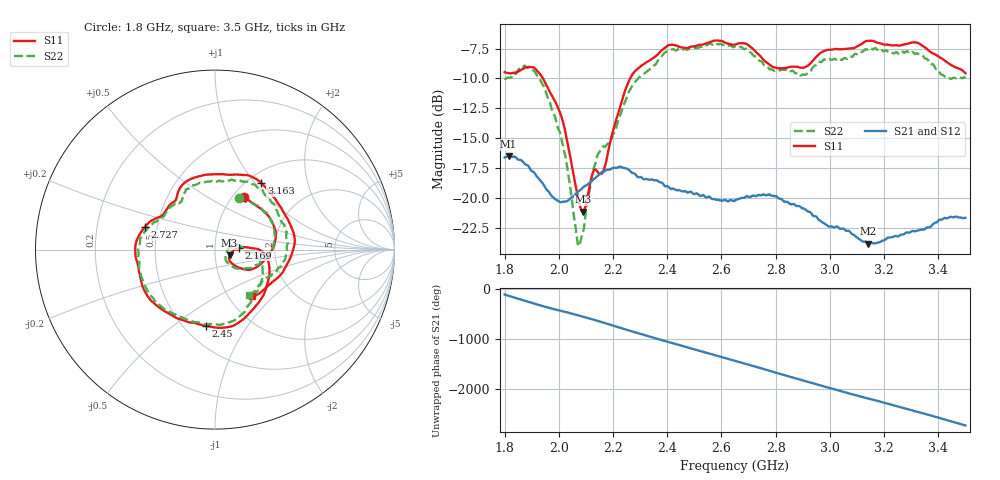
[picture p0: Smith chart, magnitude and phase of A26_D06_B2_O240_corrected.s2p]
! Created with skrf 1.9.0 (http://scikit-rf.org).
# Hz S RI R 50.0
!freq ReS11 ImS11 ReS21 ImS21 ReS12 ImS12 ReS22 ImS22
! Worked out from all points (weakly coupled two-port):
!   1601 points, 1.8 GHz to 3.5 GHz, reference 50 ohm
!   highest |S21| = -16.53 dB at 1.815 GHz (marker M1); lowest = -23.8 dB at 3.142 GHz (marker M2)
!   lowest |S11| = -21.2 dB at 2.09 GHz (marker M3), VSWR 1.19, Z = 58.7 - j3.79 ohm
!   |S11| at or under -10 dB: 1.942 GHz to 2.263 GHz (321.6 MHz wide, 15.3 % of centre)
!   |S22| runs from -24.1 to -7.0 dB; largest |S21 - S12| = 0.0025
!   S11 on the Smith chart (normalised r, x): 1.8 GHz: 1.13, +0.75; 2.169 GHz: 1.31, +0.03; 2.45 GHz: 0.64, -0.66; 2.727 GHz: 0.43, +0.13; 3.163 GHz: 1.15, +1.08; 3.5 GHz: 1.28, -0.75
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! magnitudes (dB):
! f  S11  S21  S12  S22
! 1.8 GHz  -9.5  -16.6  -16.6  -10.0
! 1.815 GHz  -9.6  -16.5  -16.5  -9.9
! 1.88 GHz  -9.1  -17.2  -17.2  -9.0
! 1.943 GHz  -10.1  -18.9  -18.9  -10.6
! 2.013 GHz  -13.4  -20.3  -20.3  -15.4
! 2.068 GHz  -19.6  -19.5  -19.6  -23.5
! 2.084 GHz  -21.0  -19.3  -19.2  -23.3
! 2.09 GHz  -21.2  -19.1  -19.1  -22.8
! 2.129 GHz  -17.7  -18.4  -18.4  -17.5
! 2.169 GHz  -17.5  -17.8  -17.8  -15.7
! 2.26 GHz  -10.1  -17.7  -17.7  -11.1
! 2.367 GHz  -7.9  -18.6  -18.6  -8.4
! 2.45 GHz  -7.4  -19.4  -19.4  -7.6
! 2.65 GHz  -7.2  -20.2  -20.2  -7.3
! 2.727 GHz  -7.8  -19.9  -19.9  -8.2
! 2.805 GHz  -9.1  -19.9  -20.0  -9.3
! 2.934 GHz  -8.6  -21.4  -21.3  -9.2
! 3.142 GHz  -6.8  -23.8  -23.7  -7.6
! 3.163 GHz  -6.9  -23.8  -23.8  -7.5
! 3.217 GHz  -7.2  -23.3  -23.3  -7.8
! 3.324 GHz  -7.0  -22.7  -22.7  -7.9
! 3.5 GHz  -9.6  -21.7  -21.6  -10.0
